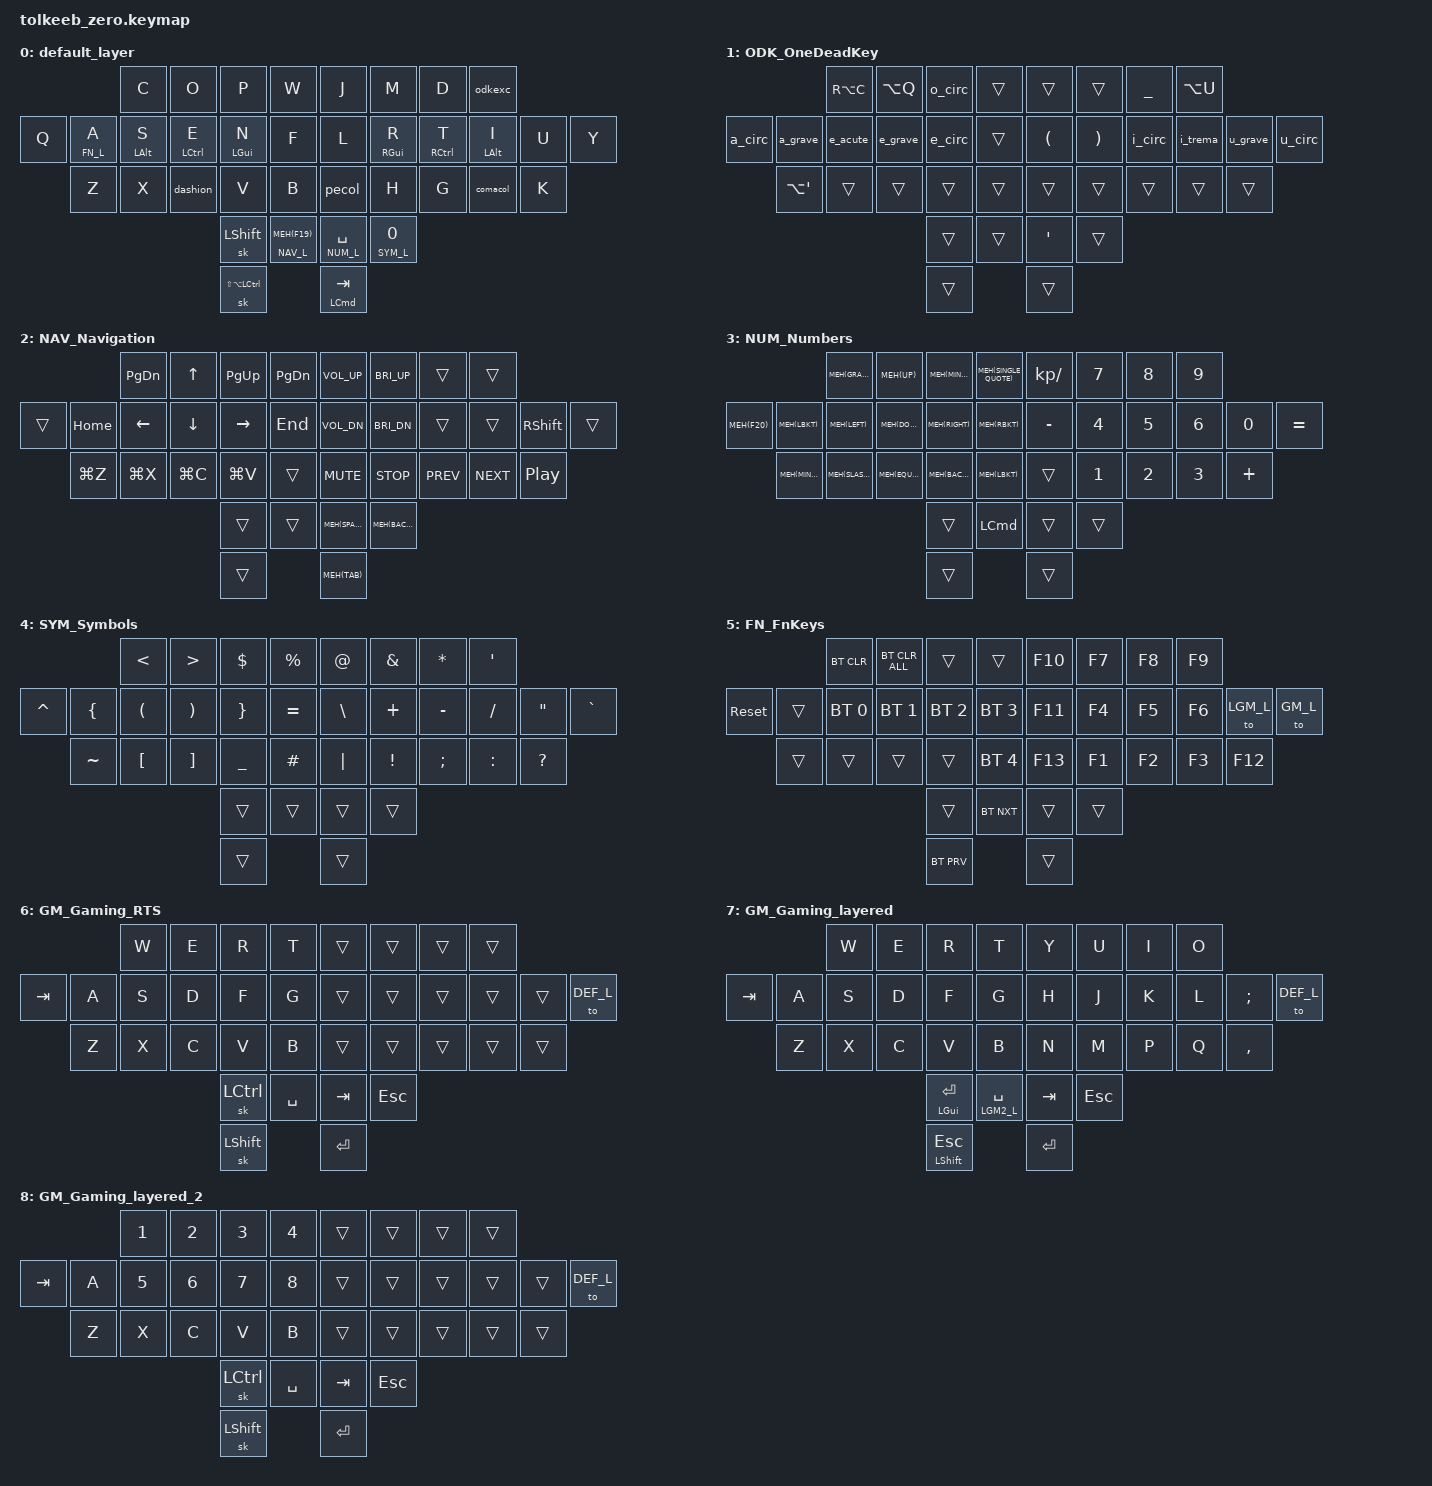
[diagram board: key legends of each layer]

#include <behaviors.dtsi>
#include <dt-bindings/zmk/keys.h>
#include "includes/behaviors.dtsi" // Home-row mods, ...
#include "includes/macros.dtsi"    // Accent macros
#include <dt-bindings/zmk/bt.h>

#define DEF_L 0
#define ODK 1
#define NAV_L 2
#define NUM_L 3
#define SYM_L 4
#define FN_L 5
#define GM_L 6
#define LGM_L 7
#define LGM2_L 8
#define HYP(key) LS(LC(LA(LG(key))))
#define MEH(key) LS(LC(LA(key)))

// Using layer taps on thumbs, having quick tap as well helps w/ repeating space/backspace
&lt { quick_tap_ms = <180>; };

/ {
    keymap {
        compatible = "zmk,keymap";

        default_layer {
            bindings = <
                         &kp C         &kp O         &kp P         &kp W         &kp J         &kp M         &kp D         &odkexc
&kp Q      &lt FN_L A    &hm LALT S    &hm LCTRL E   &hm LGUI N    &kp F         &kp L         &hm RGUI R    &hm RCTRL T   &hm LALT I      &kp U    &kp Y
           &kp Z         &kp X         &dashion      &kp V         &kp B         &pecol        &kp H         &kp G         &comacol        &kp K

                                                &sk LSHIFT    &lt NAV_L MEH(F19)   &lt NUM_L SPACE    &lt_bs SYM_L 0
                                                           &sk LS(LA(LCTRL))  &mt LCMD TAB
            >;
        }; 

        odk {
            label = "ODK_OneDeadKey";
            bindings = <
                            &kp RA(C)    &kp LA(Q)    &o_circ     &trans        &trans        &trans        &kp UNDER     &kp LA(U)
&a_circ       &a_grave      &e_acute     &e_grave     &e_circ     &trans        &kp LPAR      &kp RPAR      &i_circ       &i_trema      &u_grave       &u_circ
              &kp LA(SQT)   &trans       &trans       &trans      &trans        &trans        &trans        &trans        &trans        &trans        

                                                        &trans       &trans      &kp APOS        &trans
                                                                     &trans        &trans
            >;
        };

        nav_layer {
            label = "NAV_Navigation";
            bindings = <
                            &kp PAGE_DOWN &kp UP        &kp PAGE_UP   &kp PAGE_DOWN &kp C_VOL_UP  &kp C_BRI_UP  &trans        &trans
&trans        &kp HOME      &kp LEFT      &kp DOWN      &kp RIGHT     &kp END       &kp C_VOL_DN  &kp C_BRI_DN  &trans        &trans        &kp RIGHT_SHIFT &trans
              &kp LG(Z)     &kp LG(X)     &kp LG(C)     &kp LG(V)     &trans        &kp C_MUTE    &kp C_STOP    &kp C_PREV    &kp C_NEXT    &kp C_PP

                                                        &trans        &trans        &kp MEH(SPACE)        &kp MEH(BACKSPACE)
                                                                      &trans        &kp MEH(TAB)
            >;
        };

        math_layer {
            label = "NUM_Numbers";
            bindings = <
                            &kp MEH(GRAVE) &kp MEH(UP)        &kp MEH(MINUS)   &kp MEH(SINGLE_QUOTE)        &kp KP_DIVIDE &kp N7        &kp N8        &kp N9
&kp MEH(F20)     &kp MEH(LBKT)      &kp MEH(LEFT)      &kp MEH(DOWN)      &kp MEH(RIGHT)     &kp MEH(RBKT)              &kp MINUS      &kp N4      &kp N5        &kp N6        &kp N0        &kp EQUAL
              &kp MEH(MINUS)      &kp MEH(SLASH)     &kp MEH(EQUAL)     &kp MEH(BACKSLASH)     &kp MEH(LBKT)               &trans   &kp N1        &kp N2        &kp N3        &kp PLUS

                                                        &trans        &kp LCMD        &trans        &trans
                                                                      &trans        &trans
            >;
        };

        sym_layer {
            label = "SYM_Symbols";
            bindings = <
                          &kp LT      &kp GT       &kp DOLLAR    &kp PERCENT        &kp AT      &kp AMPS      &kp STAR    &kp SQT
&kp CARET     &kp LBRC    &kp LPAR     &kp RPAR      &kp RBRC      &kp EQUAL        &kp BSLH    &kp PLUS    &kp MINUS     &kp SLASH     &kp DQT      &kp GRAVE
              &kp TILDE   &kp LBKT     &kp RBKT      &kp UNDER     &kp HASH         &kp PIPE    &kp EXCL    &kp SEMICOLON &kp COLON     &kp QUESTION

                                                        &trans        &trans        &trans        &trans
                                                                      &trans        &trans
            >;
        };

        fn_layer {
            label = "FN_FnKeys";
            bindings = <
                            &bt BT_CLR    &bt BT_CLR_ALL &trans       &trans        &kp F10        &kp F7        &kp F8        &kp F9
&sys_reset        &trans        &bt BT_SEL 0  &bt BT_SEL 1  &bt BT_SEL 2  &bt BT_SEL 3  &kp F11        &kp F4        &kp F5        &kp F6        &to LGM_L        &to GM_L
              &trans        &trans        &trans        &trans        &bt BT_SEL 4  &kp F13        &kp F1        &kp F2        &kp F3       &kp F12

                                                        &trans        &bt BT_NXT    &trans        &trans
                                                                      &bt BT_PRV    &trans
            >;
        };

        gaming_layer {
            label = "GM_Gaming_RTS";
            bindings = <
                            &kp W         &kp E         &kp R         &kp T         &trans        &trans        &trans        &trans
&kp TAB       &kp A         &kp S         &kp D         &kp F         &kp G         &trans        &trans        &trans        &trans        &trans        &to DEF_L
              &kp Z         &kp X         &kp C         &kp V         &kp B         &trans        &trans        &trans        &trans        &trans        

                                                        &sk LCTRL     &kp SPACE     &kp TAB       &kp ESCAPE
                                                                      &sk LSHFT     &kp ENTER
            >;
        };

        gaming_layer_l {
            label = "GM_Gaming_layered";
            bindings = <
                            &kp W         &kp E         &kp R         &kp T         &kp Y        &kp U        &kp I        &kp O
&kp TAB       &kp A         &kp S         &kp D         &kp F         &kp G         &kp H        &kp J        &kp K        &kp L        &kp SEMI        &to DEF_L
              &kp Z         &kp X         &kp C         &kp V         &kp B         &kp N        &kp M        &kp P        &kp Q      &kp COMMA

                                                        &hm LGUI ENTER    &lt LGM2_L SPACE      &kp TAB       &kp ESCAPE
                                                                            &hm LSHIFT ESCAPE     &kp ENTER
            >;
        };

        gaming_layered_second_layer {
            label = "GM_Gaming_layered_2";
            bindings = <
                            &kp N1         &kp N2         &kp N3         &kp N4         &trans        &trans        &trans        &trans
&kp TAB       &kp A         &kp N5         &kp N6         &kp N7         &kp N8         &trans        &trans        &trans        &trans        &trans        &to DEF_L
              &kp Z         &kp X         &kp C         &kp V         &kp B         &trans        &trans        &trans        &trans        &trans        

                                                        &sk LCTRL     &kp SPACE     &kp TAB       &kp ESCAPE
                                                                      &sk LSHFT     &kp ENTER
            >;
        };
    };

    combos {
        compatible = "zmk,combos";

        //        0  1  2  3     4  5  6  7  
        //  8  9  10 11 12 13    14 15 16 17 18 19
        //     20 21 22 23 24    25 26 27 28 29
        //              30 31    32 33
        //                 34    35

        // This need to be the 1st entry for the yq command in README to work
        combo_caps_word {
            timeout-ms = <40>;
            key-positions = <20 29>;
            bindings = <&caps_word>;
            layers = <0>;
            require-prior-idle-ms = <100>;  
        };

        // Braces combos
        combo_col_1 {
            timeout-ms = <40>;
            key-positions = <0 10>;
            bindings = <&kp LEFT_BRACKET>;
            layers = <0>;
            require-prior-idle-ms = <100>;  
        };

        combo_col_2 {
            timeout-ms = <40>;
            key-positions = <1 11>;
            bindings = <&kp LEFT_PARENTHESIS>;
            layers = <0>;
            require-prior-idle-ms = <100>;  
        };

        combo_col_3 {
            timeout-ms = <40>;
            key-positions = <2 12>;
            bindings = <&kp LEFT_BRACE>;
            layers = <0>;
            require-prior-idle-ms = <100>;  
        };

        combo_col_4 {
            timeout-ms = <40>;
            key-positions = <5 15>;
            bindings = <&kp RIGHT_BRACE>;
            layers = <0>;
            require-prior-idle-ms = <100>;  
        };

        combo_col_5 {
            timeout-ms = <40>;
            key-positions = <6 16>;
            bindings = <&kp RIGHT_PARENTHESIS>;
            layers = <0>;
            require-prior-idle-ms = <100>;  
        };

        combo_col_6 {
            timeout-ms = <40>;
            key-positions = <7 17>;
            bindings = <&kp RIGHT_BRACKET>;
            layers = <0>;
            require-prior-idle-ms = <100>;  
        };

        // Vim-inspired (old J-K)
        combo_exit {
            timeout-ms = <40>;
            key-positions = <22 23>;
            bindings = <&kp ESC>;
            // layers = <0>;
            require-prior-idle-ms = <50>;  
        };

        combo_ret {
            timeout-ms = <40>;
            key-positions = <26 27>;
            bindings = <&kp RET>;
            // layers = <0>;
            require-prior-idle-ms = <50>;  
        };

        combo_gaming_first {
            timeout-ms = <40>;
            key-positions = <20 21>;
            bindings = <&kp N>;
            layers = <GM_L>;
        };

        combo_gaming_second {
            timeout-ms = <40>;
            key-positions = <21 22>;
            bindings = <&kp M>;
            layers = <GM_L>;
        };

        // Extra exotic combos
        // combo_thumbs {
        //     timeout-ms = <40>;
        //     key-positions = <31 33>;
        //     bindings = <&e_acute>;
        //     layers = <0>;
        // };

        // combo_left_thumb {
        //     timeout-ms = <40>;
        //     key-positions = <30 31>;
        //     bindings = <&kp SLASH>;
        //     layers = <0>;
        // };

        // combo_right_thumb {
        //     timeout-ms = <40>;
        //     key-positions = <32 33>;
        //     bindings = <&kp TAB>;
        //     layers = <0>;
        // };

    };
};
